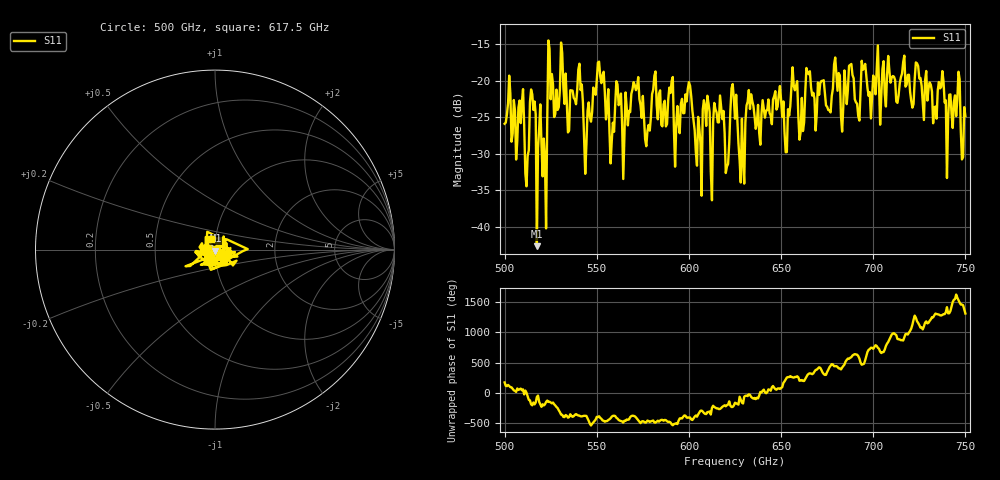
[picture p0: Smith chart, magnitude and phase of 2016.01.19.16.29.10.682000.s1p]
!Created with skrf (http://scikit-rf.org).
# GHz S RI R 50.0
!freq ReS11 ImS11
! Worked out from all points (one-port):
!   401 points, 500 GHz to 750 GHz, reference 50 ohm
!   lowest |S11| = -42.7 dB at 517.5 GHz (marker M1), VSWR 1.01, Z = 50.3 - j0.686 ohm
!   |S11| at or under -10 dB: start of sweep to end of sweep
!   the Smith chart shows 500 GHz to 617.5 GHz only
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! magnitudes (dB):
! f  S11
! 500 GHz  -25.9
! 508.8 GHz  -25.8
! 511.9 GHz  -34.5
! 515 GHz  -21.9
! 517.5 GHz  -42.7
! 521.2 GHz  -27.9
! 525 GHz  -22.5
! 531.2 GHz  -16.2
! 541.2 GHz  -21.3
! 543.8 GHz  -32.8
! 551.2 GHz  -17.4
! 558.1 GHz  -28.3
! 562.5 GHz  -23.0
! 593.8 GHz  -23.5
! 600 GHz  -20.2
! 605.6 GHz  -26.5
! 609.4 GHz  -26.2
! 620.6 GHz  -31.8
! 625 GHz  -25.2
! 628.8 GHz  -25.2
! 632.5 GHz  -21.3
! 653.1 GHz  -29.8
! 656.2 GHz  -18.2
! 661.2 GHz  -22.4
! 664.4 GHz  -18.9
! 687.5 GHz  -17.8
! 718.8 GHz  -19.2
! 750 GHz  -24.9
